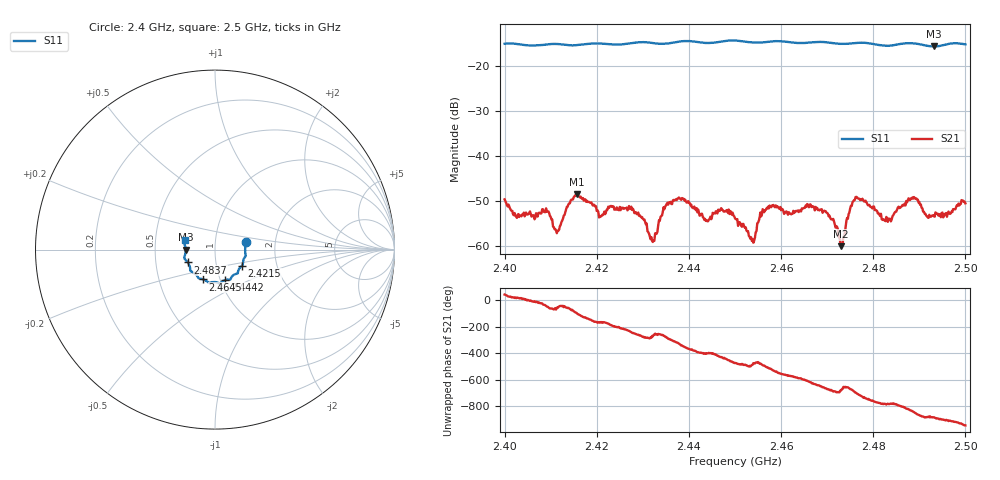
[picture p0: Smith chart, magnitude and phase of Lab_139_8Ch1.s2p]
# Hz S RI R 50
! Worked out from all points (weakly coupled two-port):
!   601 points, 2.4 GHz to 2.5 GHz, reference 50 ohm
!   highest |S21| = -48.51 dB at 2.4157 GHz (marker M1); lowest = -60.1 dB at 2.473 GHz (marker M2)
!   lowest |S11| = -15.7 dB at 2.4932 GHz (marker M3), VSWR 1.39, Z = 35.9 - j0.0446 ohm
!   |S11| at or under -10 dB: start of sweep to end of sweep
!   S12 and S22 are empty: the file has one direction only
!   S11 on the Smith chart (normalised r, x): 2.4 GHz: 1.41, +0.12; 2.4215 GHz: 1.33, -0.25; 2.4442 GHz: 1.05, -0.37; 2.4645 GHz: 0.83, -0.29; 2.4837 GHz: 0.73, -0.11; 2.5 GHz: 0.71, +0.07
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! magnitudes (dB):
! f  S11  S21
! 2.4 GHz  -15.1  -49.7
! 2.4113 GHz  -15.2  -57.2
! 2.4157 GHz  -15.4  -48.5
! 2.4167 GHz  -15.3  -49.4
! 2.4215 GHz  -15.1  -53.0
! 2.4275 GHz  -15.0  -51.3
! 2.432 GHz  -14.9  -58.9
! 2.4333 GHz  -15.1  -55.5
! 2.438 GHz  -14.6  -49.5
! 2.4442 GHz  -15.0  -54.6
! 2.45 GHz  -14.4  -53.9
! 2.4538 GHz  -14.8  -58.6
! 2.4572 GHz  -14.7  -51.3
! 2.4645 GHz  -15.0  -51.7
! 2.4667 GHz  -14.8  -51.4
! 2.473 GHz  -15.2  -60.1
! 2.4763 GHz  -14.9  -49.1
! 2.4833 GHz  -15.6  -54.0
! 2.4837 GHz  -15.5  -54.0
! 2.4887 GHz  -15.0  -49.5
! 2.4932 GHz  -15.7  -53.2
! 2.5 GHz  -15.3  -50.6
